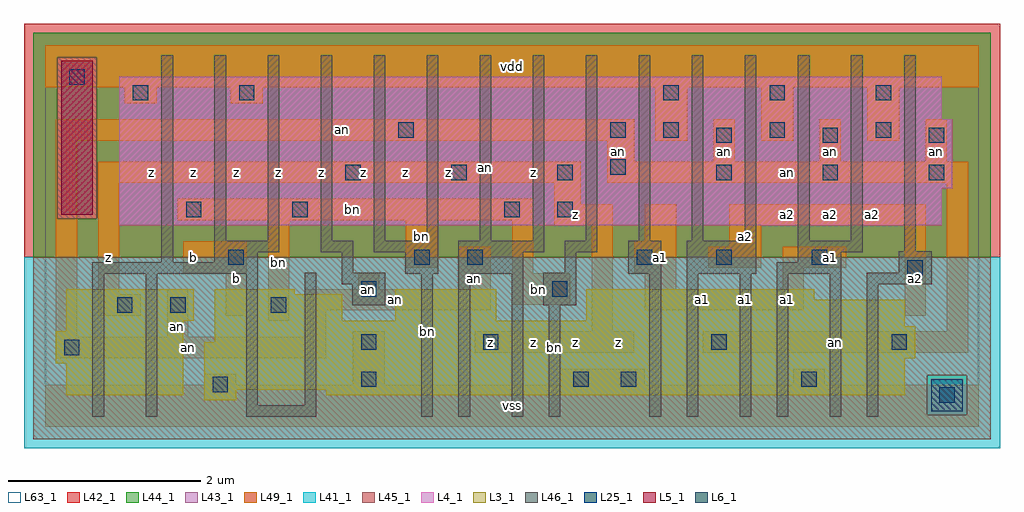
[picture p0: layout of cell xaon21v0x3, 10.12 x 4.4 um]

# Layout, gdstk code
import gdstk
lib = gdstk.Library(unit=1e-6, precision=1e-09)
def R(c, l, rs):  # rectangles x0, y0, x1, y1
    for r in rs: c.add(gdstk.rectangle(r[:2], r[2:], *l))
def A(c, l, x, y, w, h, nx, ny, dx, dy):  # array of equal rectangles
    R(c, l, [(x+i*dx, y+j*dy, x+i*dx+w, y+j*dy+h) for i in range(nx) for j in range(ny)])
L3_1 = (3, 1)
L4_1 = (4, 1)
L5_1 = (5, 1)
L6_1 = (6, 1)
L25_1 = (25, 1)
L41_1 = (41, 1)
L42_1 = (42, 1)
L43_1 = (43, 1)
L44_1 = (44, 1)
L45_1 = (45, 1)
L46_1 = (46, 1)
L49_1 = (49, 1)
L63_1 = (63, 1)

xaon21v0x3 = lib.new_cell('xaon21v0x3')
R(xaon21v0x3, L3_1, [(1.65,0.275,1.98,0.385), (0.22,0.33,1.43,0.66), (2.915,0.33,8.91,0.385), (1.65,0.385,8.91,0.715), (0.11,0.66,1.43,0.99), (1.65,0.715,9.02,0.88), (1.76,0.88,9.02,1.045), (0.22,0.99,1.43,1.1), (1.76,1.045,8.91,1.1), (0.22,1.1,1.54,1.43), (1.76,1.1,3.08,1.375), (3.63,1.1,4.675,1.43), (5.61,1.1,8.91,1.32), (5.61,1.32,7.975,1.43), (1.76,1.375,2.585,1.43)])
R(xaon21v0x3, L4_1, [(0.77,2.09,9.295,2.475), (0.77,2.475,9.405,3.19), (0.77,3.19,9.295,3.63)])
R(xaon21v0x3, L5_1, [(0.165,2.2,0.495,3.795)])
R(xaon21v0x3, L6_1, [(9.185,0.165,9.515,0.495)])
A(xaon21v0x3, L25_1, 3.11, 2.56, 0.16, 0.16, 3, 1, 1.1, 0)
A(xaon21v0x3, L25_1, 6.96, 2.56, 0.16, 0.16, 3, 2, 1.1, 0.385)
A(xaon21v0x3, L25_1, 6.41, 3, 0.16, 0.16, 3, 2, 1.1, 0.385)
R(xaon21v0x3, L25_1, [(9.27,0.25,9.43,0.41), (1.735,0.36,1.895,0.52), (3.275,0.415,3.435,0.575), (5.475,0.415,5.635,0.575), (5.97,0.415,6.13,0.575), (7.84,0.415,8,0.575), (0.195,0.745,0.355,0.905), (3.275,0.8,3.435,0.96), (4.54,0.8,4.7,0.96), (6.905,0.8,7.065,0.96), (8.775,0.8,8.935,0.96), (0.745,1.185,0.905,1.345), (1.295,1.185,1.455,1.345), (2.34,1.185,2.5,1.345), (3.275,1.35,3.435,1.51), (5.255,1.35,5.415,1.51), (8.94,1.57,9.1,1.73), (1.9,1.68,2.06,1.84), (3.825,1.68,3.985,1.84), (4.375,1.68,4.535,1.84), (6.135,1.68,6.295,1.84), (6.96,1.68,7.12,1.84), (7.95,1.68,8.11,1.84), (1.46,2.175,1.62,2.335), (2.56,2.175,2.72,2.335), (4.76,2.175,4.92,2.335), (5.31,2.175,5.47,2.335), (5.86,2.615,6.02,2.775), (3.66,3,3.82,3.16), (5.86,3,6.02,3.16), (0.91,3.385,1.07,3.545), (2.01,3.385,2.17,3.545), (0.25,3.55,0.41,3.71)])
R(xaon21v0x3, L41_1, [(-0.22,-0.22,9.9,1.76)])
R(xaon21v0x3, L42_1, [(-0.22,1.76,9.9,4.18)])
R(xaon21v0x3, L43_1, [(9.185,0.165,9.515,0.495), (1.65,0.275,1.98,0.385), (0.22,0.33,1.43,0.66), (2.915,0.33,8.91,0.385), (1.65,0.385,8.91,0.715), (0.11,0.66,1.43,0.99), (1.65,0.715,9.02,0.88), (1.76,0.88,9.02,1.045), (0.22,0.99,1.43,1.1), (1.76,1.045,8.91,1.1), (0.22,1.1,1.54,1.43), (1.76,1.1,3.08,1.375), (3.63,1.1,4.675,1.43), (5.61,1.1,8.91,1.32), (5.61,1.32,7.975,1.43), (1.76,1.375,2.585,1.43), (0.77,2.09,9.295,2.475), (0.165,2.2,0.495,3.795), (0.77,2.475,9.405,3.19), (0.77,3.19,9.295,3.63)])
R(xaon21v0x3, L44_1, [(9.145,0.125,9.555,0.535), (-0.125,1.76,9.805,2.16), (-0.125,2.16,0.125,3.835), (0.535,2.16,9.805,3.835), (-0.125,3.835,9.805,4.085)])
R(xaon21v0x3, L45_1, [(-0.125,-0.125,9.805,0.125), (-0.125,0.125,9.145,0.535), (9.555,0.125,9.805,0.535), (-0.125,0.535,9.805,1.76), (0.125,2.16,0.535,3.835)])
A(xaon21v0x3, L46_1, 1.755, 1.93, 0.12, 1.925, 13, 1, 0.55, 0)
R(xaon21v0x3, L46_1, [(0.49,0.105,0.61,1.59), (1.04,0.105,1.16,1.59), (2.085,0.105,2.81,0.225), (3.9,0.105,4.02,1.59), (4.285,0.105,4.405,1.59), (4.835,0.105,4.955,1.59), (5.22,0.105,5.34,1.26), (6.265,0.105,6.385,1.59), (6.65,0.105,6.77,1.59), (7.2,0.105,7.32,1.59), (7.585,0.105,7.705,1.59), (8.135,0.105,8.255,1.59), (8.52,0.105,8.64,1.48), (2.085,0.225,2.205,1.59), (2.69,0.225,2.81,1.6), (3.185,1.26,3.525,1.48), (5.165,1.26,5.505,1.6), (3.075,1.48,3.525,1.6), (8.52,1.48,9.19,1.6), (0.49,1.59,2.205,1.71), (3.735,1.59,4.075,1.81), (4.285,1.59,4.955,1.81), (6.045,1.59,6.385,1.93), (6.65,1.59,7.375,1.93), (7.585,1.59,8.255,1.71), (3.075,1.6,3.195,1.81), (5.385,1.6,5.505,1.81), (8.85,1.6,9.19,1.82), (1.205,1.71,1.325,3.855), (1.755,1.71,2.205,1.81), (7.805,1.71,8.255,1.81), (1.755,1.81,2.425,1.93), (2.855,1.81,3.195,1.93), (3.405,1.81,4.075,1.93), (4.285,1.81,5.175,1.93), (5.385,1.81,5.725,1.93), (7.805,1.81,8.475,1.93), (8.905,1.82,9.025,3.855)])
A(xaon21v0x3, L49_1, 6.93, 2.75, 0.22, 0.44, 3, 1, 1.1, 0)
A(xaon21v0x3, L49_1, 6.325, 2.97, 0.33, 0.55, 3, 1, 1.1, 0)
R(xaon21v0x3, L49_1, [(0,0,9.68,0.44), (1.65,0.44,1.98,0.55), (3.19,0.44,3.52,0.99), (5.335,0.44,6.215,0.605), (7.755,0.44,8.085,0.605), (0.11,0.715,2.915,0.935), (4.455,0.77,6.105,0.99), (6.82,0.77,9.57,0.99), (0.11,0.935,0.33,2.97), (1.265,0.935,1.485,1.43), (2.695,0.935,2.915,1.21), (5.665,0.99,5.885,2.09), (9.35,0.99,9.57,2.53), (2.31,1.1,2.53,2.145), (0.55,1.155,0.99,1.375), (1.87,1.155,2.09,1.595), (8.91,1.155,9.13,2.09), (2.695,1.21,4.62,1.43), (6.215,1.21,7.865,1.43), (4.84,1.265,5.445,1.595), (0.55,1.375,0.77,2.53), (3.245,1.43,3.465,1.595), (4.29,1.43,4.62,1.87), (6.215,1.43,6.545,1.595), (7.645,1.43,7.865,1.65), (1.43,1.595,2.09,1.925), (4.84,1.595,5.06,2.145), (6.105,1.595,6.545,1.925), (3.74,1.65,4.07,2.145), (6.875,1.65,7.425,1.87), (7.645,1.65,8.305,1.87), (7.095,1.87,7.425,2.09), (6.215,1.925,6.545,2.31), (5.28,2.09,5.885,2.31), (7.095,2.09,9.13,2.31), (1.375,2.145,5.06,2.365), (5.28,2.31,5.555,2.53), (0.55,2.53,5.555,2.75), (5.83,2.53,9.57,2.75), (5.83,2.75,6.105,2.97), (0.11,2.97,6.105,3.19), (0.825,3.355,1.155,3.52), (1.925,3.355,2.255,3.52), (0,3.52,9.68,3.96)])
R(xaon21v0x3, L63_1, [(0,0,9.68,3.96)])
xaon21v0x3.add(gdstk.Label('bn', (3.96,0.99), layer=46, texttype=1))
xaon21v0x3.add(gdstk.Label('an', (3.355,1.43), layer=49, texttype=1))
xaon21v0x3.add(gdstk.Label('an', (4.565,2.695), layer=46, texttype=1))
xaon21v0x3.add(gdstk.Label('bn', (5.28,0.825), layer=46, texttype=1))
xaon21v0x3.add(gdstk.Label('an', (1.375,1.045), layer=49, texttype=1))
xaon21v0x3.add(gdstk.Label('z', (0.66,1.76), layer=49, texttype=1))
xaon21v0x3.add(gdstk.Label('b', (1.54,1.76), layer=49, texttype=1))
xaon21v0x3.add(gdstk.Label('z', (1.1,2.64), layer=49, texttype=1))
xaon21v0x3.add(gdstk.Label('z', (1.54,2.64), layer=49, texttype=1))
xaon21v0x3.add(gdstk.Label('an', (1.485,0.825), layer=49, texttype=1))
xaon21v0x3.add(gdstk.Label('b', (1.98,1.54), layer=49, texttype=1))
xaon21v0x3.add(gdstk.Label('bn', (2.42,1.705), layer=49, texttype=1))
xaon21v0x3.add(gdstk.Label('z', (1.98,2.64), layer=49, texttype=1))
xaon21v0x3.add(gdstk.Label('z', (2.42,2.64), layer=49, texttype=1))
xaon21v0x3.add(gdstk.Label('z', (2.86,2.64), layer=49, texttype=1))
xaon21v0x3.add(gdstk.Label('z', (3.3,2.64), layer=49, texttype=1))
xaon21v0x3.add(gdstk.Label('vss', (4.84,0.22), layer=49, texttype=1))
xaon21v0x3.add(gdstk.Label('z', (5.5,0.88), layer=49, texttype=1))
xaon21v0x3.add(gdstk.Label('z', (4.62,0.88), layer=49, texttype=1))
xaon21v0x3.add(gdstk.Label('z', (5.06,0.88), layer=49, texttype=1))
xaon21v0x3.add(gdstk.Label('an', (3.63,1.32), layer=49, texttype=1))
xaon21v0x3.add(gdstk.Label('an', (4.455,1.54), layer=49, texttype=1))
xaon21v0x3.add(gdstk.Label('bn', (5.115,1.43), layer=49, texttype=1))
xaon21v0x3.add(gdstk.Label('z', (5.5,2.2), layer=49, texttype=1))
xaon21v0x3.add(gdstk.Label('bn', (3.19,2.255), layer=49, texttype=1))
xaon21v0x3.add(gdstk.Label('bn', (3.905,1.98), layer=49, texttype=1))
xaon21v0x3.add(gdstk.Label('z', (3.74,2.64), layer=49, texttype=1))
xaon21v0x3.add(gdstk.Label('z', (4.18,2.64), layer=49, texttype=1))
xaon21v0x3.add(gdstk.Label('z', (4.62,2.64), layer=49, texttype=1))
xaon21v0x3.add(gdstk.Label('z', (5.06,2.64), layer=49, texttype=1))
xaon21v0x3.add(gdstk.Label('vdd', (4.84,3.74), layer=49, texttype=1))
xaon21v0x3.add(gdstk.Label('z', (5.94,0.88), layer=49, texttype=1))
xaon21v0x3.add(gdstk.Label('a1', (6.82,1.32), layer=49, texttype=1))
xaon21v0x3.add(gdstk.Label('a1', (7.26,1.32), layer=49, texttype=1))
xaon21v0x3.add(gdstk.Label('a1', (7.7,1.32), layer=49, texttype=1))
xaon21v0x3.add(gdstk.Label('a1', (6.38,1.76), layer=49, texttype=1))
xaon21v0x3.add(gdstk.Label('a2', (7.7,2.2), layer=49, texttype=1))
xaon21v0x3.add(gdstk.Label('a2', (7.26,1.98), layer=49, texttype=1))
xaon21v0x3.add(gdstk.Label('an', (7.04,2.86), layer=49, texttype=1))
xaon21v0x3.add(gdstk.Label('an', (5.94,2.86), layer=49, texttype=1))
xaon21v0x3.add(gdstk.Label('an', (3.08,3.08), layer=49, texttype=1))
xaon21v0x3.add(gdstk.Label('an', (8.195,0.88), layer=49, texttype=1))
xaon21v0x3.add(gdstk.Label('a1', (8.14,1.76), layer=49, texttype=1))
xaon21v0x3.add(gdstk.Label('a2', (9.02,1.54), layer=49, texttype=1))
xaon21v0x3.add(gdstk.Label('a2', (8.14,2.2), layer=49, texttype=1))
xaon21v0x3.add(gdstk.Label('a2', (8.58,2.2), layer=49, texttype=1))
xaon21v0x3.add(gdstk.Label('an', (7.7,2.64), layer=49, texttype=1))
xaon21v0x3.add(gdstk.Label('an', (8.14,2.86), layer=49, texttype=1))
xaon21v0x3.add(gdstk.Label('an', (9.24,2.86), layer=49, texttype=1))

lib.write_gds('xaon21v0x3.gds')
